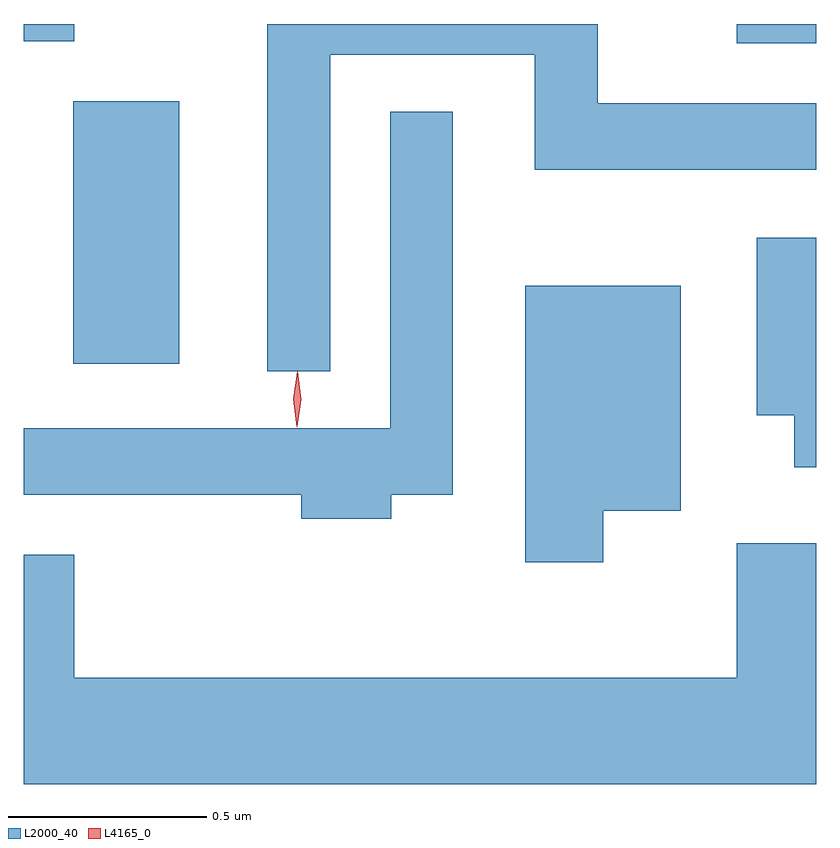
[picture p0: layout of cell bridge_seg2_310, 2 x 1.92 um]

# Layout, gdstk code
import gdstk
lib = gdstk.Library(unit=1e-6, precision=1e-09)
def R(c, l, rs):  # rectangles x0, y0, x1, y1
    for r in rs: c.add(gdstk.rectangle(r[:2], r[2:], *l))
def P(c, l, *ps):  # polygons
    for p in ps: c.add(gdstk.Polygon(p, *l))
L2000_40 = (2000, 40)
L4165_0 = (4165, 0)

bridge_seg2_310 = lib.new_cell('bridge_seg2_310')
R(bridge_seg2_310, L2000_40, [(411.736,1073.796,412.004,1074.459), (413.411,1074.606,413.611,1074.654), (411.611,1074.611,411.739,1074.654)])
P(bridge_seg2_310, L2000_40, [(412.384,1074.576),(412.901,1074.576),(412.901,1074.286),(413.611,1074.286),(413.611,1074.454),(413.059,1074.454),(413.059,1074.654),(412.226,1074.654),(412.226,1073.778),(412.384,1073.778)],
  [(412.539,1073.466),(412.694,1073.466),(412.694,1074.433),(412.536,1074.433),(412.536,1073.634),(411.611,1073.634),(411.611,1073.466),(412.311,1073.466),(412.311,1073.406),(412.539,1073.406)],
  [(413.611,1074.114),(413.461,1074.114),(413.461,1073.666),(413.556,1073.666),(413.556,1073.536),(413.611,1073.536)],
  [(413.074,1073.426),(413.269,1073.426),(413.269,1073.994),(412.876,1073.994),(412.876,1073.296),(413.074,1073.296)],
  [(413.611,1073.344),(413.411,1073.344),(413.411,1073.004),(411.739,1073.004),(411.739,1073.314),(411.611,1073.314),(411.611,1072.736),(413.611,1072.736)])
P(bridge_seg2_310, L4165_0, [(412.301,1073.637),(412.3,1073.638),(412.291,1073.707),(412.301,1073.776),(412.302,1073.776),(412.302,1073.776),(412.311,1073.707),(412.301,1073.638)])

lib.write_gds('bridge_seg2_310.gds')
